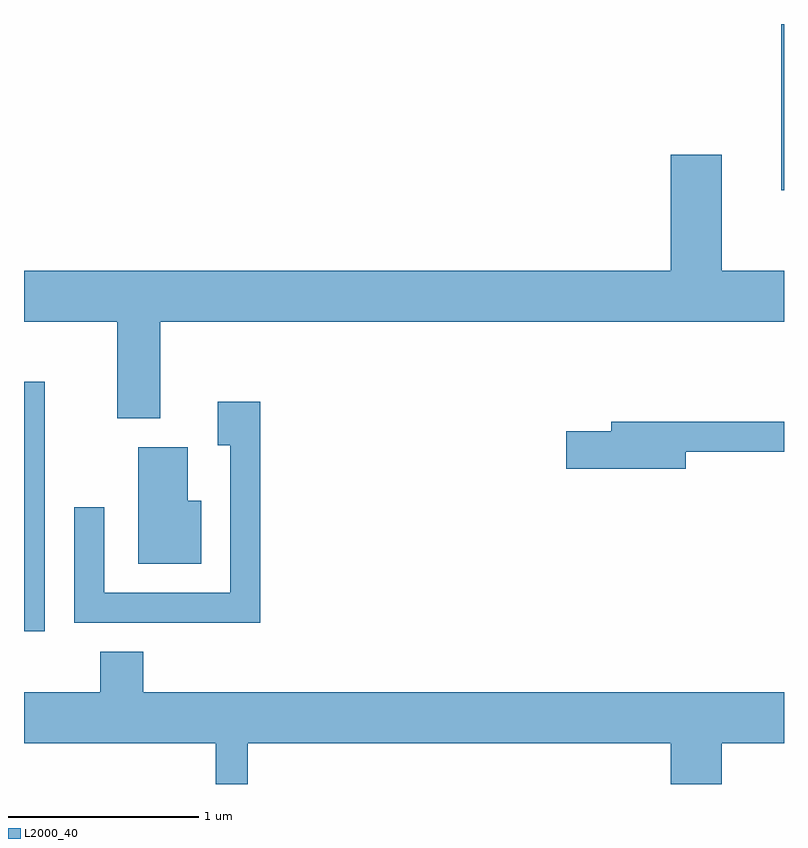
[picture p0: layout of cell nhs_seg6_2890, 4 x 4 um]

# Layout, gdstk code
import gdstk
lib = gdstk.Library(unit=1e-6, precision=1e-09)
def R(c, l, rs):  # rectangles x0, y0, x1, y1
    for r in rs: c.add(gdstk.rectangle(r[:2], r[2:], *l))
def P(c, l, *ps):  # polygons
    for p in ps: c.add(gdstk.Polygon(p, *l))
L2000_40 = (2000, 40)

nhs_seg6_2890 = lib.new_cell('nhs_seg6_2890')
R(nhs_seg6_2890, L2000_40, [(271.611,1654.966,271.719,1656.279), (275.596,1657.286,275.611,1658.162)])
P(nhs_seg6_2890, L2000_40, [(272.329,1656.596),(275.611,1656.596),(275.611,1656.864),(275.284,1656.864),(275.284,1657.474),(275.016,1657.474),(275.016,1656.864),(271.611,1656.864),(271.611,1656.596),(272.101,1656.596),(272.101,1656.086),(272.329,1656.086)],
  [(272.854,1656.174),(272.631,1656.174),(272.631,1655.946),(272.696,1655.946),(272.696,1655.169),(272.034,1655.169),(272.034,1655.618),(271.876,1655.618),(271.876,1655.011),(272.854,1655.011)],
  [(275.094,1655.911),(275.611,1655.911),(275.611,1656.069),(274.701,1656.069),(274.701,1656.019),(274.466,1656.019),(274.466,1655.821),(275.094,1655.821)],
  [(272.544,1655.654),(272.474,1655.654),(272.474,1655.934),(272.211,1655.934),(272.211,1655.321),(272.544,1655.321)],
  [(272.789,1654.376),(275.016,1654.376),(275.016,1654.162),(275.284,1654.162),(275.284,1654.376),(275.611,1654.376),(275.611,1654.644),(272.239,1654.644),(272.239,1654.859),(272.011,1654.859),(272.011,1654.644),(271.611,1654.644),(271.611,1654.376),(272.621,1654.376),(272.621,1654.162),(272.789,1654.162)])

lib.write_gds('nhs_seg6_2890.gds')
